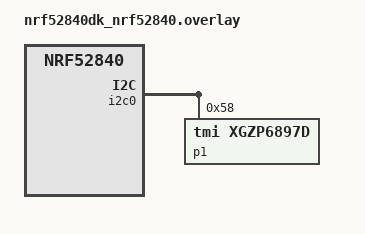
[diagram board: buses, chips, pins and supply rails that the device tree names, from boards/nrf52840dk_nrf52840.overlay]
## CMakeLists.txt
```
cmake_minimum_required(VERSION 3.20.0)
find_package(Zephyr REQUIRED HINTS $ENV{ZEPHYR_BASE})

project(unit)

target_sources(app PRIVATE src/main.c)
```

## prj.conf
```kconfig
CONFIG_LOG=y
CONFIG_GPIO=y
CONFIG_TMI_DRIVER_XGZP6897D=y
```

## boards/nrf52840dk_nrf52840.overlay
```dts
/ {
	aliases {
		i2c0 = &i2c0;
	};
};

&i2c0 {
	status = "okay";
	pinctrl-0 = <&i2c0_default>;
	pinctrl-1 = <&i2c0_sleep>;
	pinctrl-names = "default", "sleep";

	p1: xgzp6897d@58 {
		compatible = "tmi,xgzp6897d";
		reg = <0x58>;
		status = "okay";
	};
};
```

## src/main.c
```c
#include <zephyr/kernel.h>
#include <zephyr/drivers/sensor.h>
#include <zephyr/drivers/gpio.h>
#include <zephyr/logging/log.h>
#include <stdio.h>

LOG_MODULE_REGISTER(apps);

#define MAX_SAMPLES        200
#define SAMPLE_INTERVAL_US 32500

const struct device *p1 = DEVICE_DT_GET(DT_NODELABEL(p1));

int main(void)
{
	uint32_t start_time;
	int sample_count = 0;
	int ret = 0;
	double avg = 0;
	double sum = 0;
	double offset = 0;

	if (!device_is_ready(p1)) {
		LOG_ERR("Sensor device not ready!");
		return -ENODEV;
	}

	LOG_INF("DATA_START");

	// PHASE 1: CALIBRATION (Find Offset)
	LOG_INF("Starting calibration...");
	while (sample_count < MAX_SAMPLES) {
		struct sensor_value diff_pressure;
		double ans = 0;

		ret = sensor_sample_fetch(p1);
		if (ret == 0) {
			ret = sensor_channel_get(p1, SENSOR_CHAN_PRESS, &diff_pressure);
			if (ret == 0) {
				ans = sensor_value_to_double(&diff_pressure);
				sum += ans;
				sample_count++;
			}
		} else {
			LOG_WRN("Failed to fetch calibration sample: %d", ret);
		}
		k_usleep(SAMPLE_INTERVAL_US);
	}

	offset = sum / MAX_SAMPLES;
	LOG_INF("OFFSET calibration is done. Offset = %0.3f PA", offset);

	// RESET VARIABLES FOR MEASUREMENT
	sum = 0;
	sample_count = 0;

	// PHASE 2: MEASUREMENT (Apply Offset)
	LOG_INF("Starting measurement...");
	LOG_INF("Time(ms),Pressure(Pa)");

	start_time = k_uptime_get_32();

	while (sample_count < MAX_SAMPLES) {
		struct sensor_value diff_pressure;
		double ans = 0;

		ret = sensor_sample_fetch(p1);
		if (ret == 0) {
			ret = sensor_channel_get(p1, SENSOR_CHAN_PRESS, &diff_pressure);
			if (ret == 0) {
				uint32_t elapsed = k_uptime_get_32() - start_time;
				ans = sensor_value_to_double(&diff_pressure);

				// Incorporate the calibrated offset
				ans = ans - offset;

				LOG_INF("%u,%0.3f", elapsed, ans);
				sum += ans;
				sample_count++;
			}
		} else {
			LOG_WRN("Failed to fetch measurement sample: %d", ret);
		}
		k_usleep(SAMPLE_INTERVAL_US);
	}

	avg = sum / MAX_SAMPLES;
	LOG_INF("DATA_END");
	LOG_INF("FINAL AVG = %0.3f", avg);

	// Infinite sleep loop
	while (1) {
		k_msleep(1000);
	}
}
```

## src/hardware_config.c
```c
#include <tmi/api/pressure.h>

extern const tmi_pressure_api_t xgzp6897d_api;
#define PRESSURE1 xgzp6897d_api

tmi_pressure_config_t p1_config = {
	.bus = DEVICE_DT_GET(DT_ALIAS(i2c0)),
	.addr = 0x58,
	.filter = 0,
};

struct device p1 = {
	.config = &p1_config,
	.api = &PRESSURE1,
};
```
